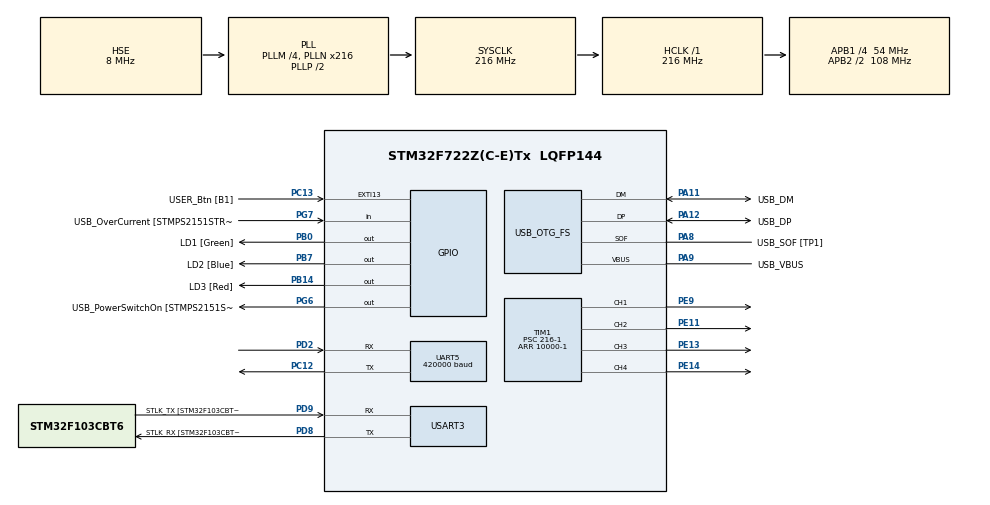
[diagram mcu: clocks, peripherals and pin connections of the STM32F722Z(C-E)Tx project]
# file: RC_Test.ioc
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Dma.Request0=UART5_RX
Dma.Request1=UART5_TX
Dma.UART5_RX.0.Direction=DMA_PERIPH_TO_MEMORY
Dma.UART5_RX.0.FIFOMode=DMA_FIFOMODE_ENABLE
Dma.UART5_RX.0.FIFOThreshold=DMA_FIFO_THRESHOLD_HALFFULL
Dma.UART5_RX.0.Instance=DMA1_Stream0
Dma.UART5_RX.0.MemBurst=DMA_MBURST_SINGLE
Dma.UART5_RX.0.MemDataAlignment=DMA_MDATAALIGN_BYTE
Dma.UART5_RX.0.MemInc=DMA_MINC_ENABLE
Dma.UART5_RX.0.Mode=DMA_CIRCULAR
Dma.UART5_RX.0.PeriphBurst=DMA_PBURST_SINGLE
Dma.UART5_RX.0.PeriphDataAlignment=DMA_PDATAALIGN_BYTE
Dma.UART5_RX.0.PeriphInc=DMA_PINC_DISABLE
Dma.UART5_RX.0.Priority=DMA_PRIORITY_LOW
Dma.UART5_TX.1.Direction=DMA_MEMORY_TO_PERIPH
Dma.UART5_TX.1.FIFOMode=DMA_FIFOMODE_ENABLE
Dma.UART5_TX.1.FIFOThreshold=DMA_FIFO_THRESHOLD_HALFFULL
Dma.UART5_TX.1.Instance=DMA1_Stream7
Dma.UART5_TX.1.MemBurst=DMA_MBURST_SINGLE
Dma.UART5_TX.1.MemDataAlignment=DMA_MDATAALIGN_BYTE
Dma.UART5_TX.1.MemInc=DMA_MINC_ENABLE
Dma.UART5_TX.1.Mode=DMA_NORMAL
Dma.UART5_TX.1.PeriphBurst=DMA_PBURST_SINGLE
Dma.UART5_TX.1.PeriphDataAlignment=DMA_PDATAALIGN_BYTE
Dma.UART5_TX.1.PeriphInc=DMA_PINC_DISABLE
Dma.UART5_TX.1.Priority=DMA_PRIORITY_LOW
Mcu.Family=STM32F7
Mcu.Name=STM32F722Z(C-E)Tx
Mcu.Package=LQFP144
NVIC.DMA1_Stream0_IRQn=true\:0\:0\:false\:false\:true\:false\:true\:true
NVIC.DMA1_Stream7_IRQn=true\:0\:0\:false\:false\:true\:false\:true\:true
NVIC.PriorityGroup=NVIC_PRIORITYGROUP_4
NVIC.UART5_IRQn=true\:0\:0\:false\:false\:true\:true\:true\:true
PA10.GPIO_Label=USB_ID
PA10.Signal=USB_OTG_FS_ID
PA11.GPIO_Label=USB_DM
PA11.Mode=Device_Only
PA11.Signal=USB_OTG_FS_DM
PA12.GPIO_Label=USB_DP
PA12.Mode=Device_Only
PA12.Signal=USB_OTG_FS_DP
PA13.GPIO_Label=TMS
PA13.Mode=Serial_Wire
PA13.Signal=SYS_JTMS-SWDIO
PA14.GPIO_Label=TCK
PA14.Mode=Serial_Wire
PA14.Signal=SYS_JTCK-SWCLK
PA8.GPIO_Label=USB_SOF [TP1]
PA8.Mode=Activate_SOF_FS
PA8.Signal=USB_OTG_FS_SOF
PA9.GPIO_Label=USB_VBUS
PA9.Mode=Activate_VBUS
PA9.Signal=USB_OTG_FS_VBUS
PB0.GPIO_Label=LD1 [Green]
PB0.Signal=GPIO_Output
PB14.GPIO_Label=LD3 [Red]
PB14.Signal=GPIO_Output
PB3.GPIO_Label=SWO
PB3.Signal=SYS_JTDO-SWO
PB7.GPIO_Label=LD2 [Blue]
PB7.Signal=GPIO_Output
PC12.Mode=Asynchronous
PC12.Signal=UART5_TX
PC13.GPIO_Label=USER_Btn [B1]
PC13.Signal=GPXTI13
PC14-OSC32_IN.Mode=LSE-External-Oscillator
PC14-OSC32_IN.Signal=RCC_OSC32_IN
PC15-OSC32_OUT.Mode=LSE-External-Oscillator
PC15-OSC32_OUT.Signal=RCC_OSC32_OUT
PD2.Mode=Asynchronous
PD2.Signal=UART5_RX
PD8.GPIO_Label=STLK_RX [STM32F103CBT6_PA3]
PD8.Mode=Asynchronous
PD8.Signal=USART3_TX
PD9.GPIO_Label=STLK_TX [STM32F103CBT6_PA2]
PD9.Mode=Asynchronous
PD9.Signal=USART3_RX
PE11.Signal=S_TIM1_CH2
PE13.Signal=S_TIM1_CH3
PE14.Signal=S_TIM1_CH4
PE9.Signal=S_TIM1_CH1
PG6.GPIO_Label=USB_PowerSwitchOn [STMPS2151STR_EN]
PG6.Signal=GPIO_Output
PG7.GPIO_Label=USB_OverCurrent [STMPS2151STR_FAULT]
PG7.Signal=GPIO_Input
PH0-OSC_IN.GPIO_Label=MCO
PH0-OSC_IN.Mode=HSE-External-Clock-Source
PH0-OSC_IN.Signal=RCC_OSC_IN
PH1-OSC_OUT.Mode=HSE-External-Clock-Source
PH1-OSC_OUT.Signal=RCC_OSC_OUT
ProjectManager.HeapSize=0x200
ProjectManager.StackSize=0x400
ProjectManager.TargetToolchain=STM32CubeIDE
RCC.48MHZClocksFreq_Value=24000000
RCC.AHBFreq_Value=216000000
RCC.APB1CLKDivider=RCC_HCLK_DIV4
RCC.APB1Freq_Value=54000000
RCC.APB1TimFreq_Value=108000000
RCC.APB2CLKDivider=RCC_HCLK_DIV2
RCC.APB2Freq_Value=108000000
RCC.APB2TimFreq_Value=216000000
RCC.CortexFreq_Value=216000000
RCC.HCLKFreq_Value=216000000
RCC.HSE_VALUE=8000000
RCC.HSI_VALUE=16000000
RCC.PLLM=4
RCC.PLLMUL=RCC_PLL_MUL9
RCC.PLLN=216
RCC.PLLQ=9
RCC.PRESCALERUSB=RCC_USBCLKSOURCE_PLL_DIV1_5
RCC.SYSCLKFreq_VALUE=216000000
RCC.SYSCLKSource=RCC_SYSCLKSOURCE_PLLCLK
RCC.SYSCLKSourceVirtual=RCC_SYSCLKSOURCE_PLLCLK
RCC.USBFreq_Value=48000000
RCC.VCOOutputFreq_Value=432000000
SH.S_TIM1_CH1.0=TIM1_CH1,PWM Generation1 CH1
SH.S_TIM1_CH2.0=TIM1_CH2,PWM Generation2 CH2
SH.S_TIM1_CH3.0=TIM1_CH3,PWM Generation3 CH3
SH.S_TIM1_CH4.0=TIM1_CH4,PWM Generation4 CH4
TIM1.AutoReloadPreload=TIM_AUTORELOAD_PRELOAD_ENABLE
TIM1.Channel-PWM\ Generation1\ CH1=TIM_CHANNEL_1
TIM1.Channel-PWM\ Generation2\ CH2=TIM_CHANNEL_2
TIM1.Channel-PWM\ Generation3\ CH3=TIM_CHANNEL_3
TIM1.Channel-PWM\ Generation4\ CH4=TIM_CHANNEL_4
TIM1.OCIdleState_4=TIM_OCIDLESTATE_RESET
TIM1.Period=10000-1
TIM1.Prescaler=216-1
TIM1.Pulse-PWM\ Generation1\ CH1=1500
TIM1.Pulse-PWM\ Generation2\ CH2=1500
TIM1.Pulse-PWM\ Generation3\ CH3=1500
TIM1.Pulse-PWM\ Generation4\ CH4=1500
UART5.BaudRate=420000
UART5.OverSampling=UART_OVERSAMPLING_16
UART5.WordLength=WORDLENGTH_8B
USART3.VirtualMode-Asynchronous=VM_ASYNC
USB_OTG_FS.VirtualMode=Device_Only
VP_TIM1_VS_ClockSourceINT.Mode=Internal
board=NUCLEO-F722ZE

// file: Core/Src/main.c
/* USER CODE BEGIN Header */
/**
  ******************************************************************************
  * @file           : main.c
  * @brief          : Main program body
  ******************************************************************************
  * @attention
  *
  * Copyright (c) 2023 STMicroelectronics.
  * All rights reserved.
  *
  * This software is licensed under terms that can be found in the LICENSE file
  * in the root directory of this software component.
  * If no LICENSE file comes with this software, it is provided AS-IS.
  *
  ******************************************************************************
  */
/* USER CODE END Header */
#include "main.h"

/* USER CODE BEGIN Includes */
#include <string.h>
#include "common_pre.h"
#include "common_defaults_post.h"
#include "rx/crsf.h"
#include "build/atomic.h"
#include "nvic.h"
#include "common/time.h"
#include "rx/rx.h"
#include "telemetry/crsf.h"

extern timeUs_t lastLinkStatisticsFrameUs;
extern crsfLinkStatistics_t crsfLinkStats;
extern crsfLinkStatisticsTx_t crsfLinkStatsTx;

/* USER CODE END Includes */

TIM_HandleTypeDef htim1;

UART_HandleTypeDef huart5;
UART_HandleTypeDef huart3;
DMA_HandleTypeDef hdma_uart5_rx;
DMA_HandleTypeDef hdma_uart5_tx;

PCD_HandleTypeDef hpcd_USB_OTG_FS;

/* USER CODE BEGIN PV */
//extern void pgResetFn_rxConfig(rxConfig_t *rxConfig);
//telemetryConfig_t telemetryConfig_System;

/* USER CODE END PV */

void SystemClock_Config(void);
static void MX_GPIO_Init(void);
static void MX_DMA_Init(void);
static void MX_USB_OTG_FS_PCD_Init(void);
static void MX_USART3_UART_Init(void);
static void MX_UART5_Init(void);
static void MX_TIM1_Init(void);

/* USER CODE BEGIN 0 */
#define RX_UART_BUFFER_SIZE CRSF_FRAME_SIZE_MAX
uint8_t Rx_data[RX_UART_BUFFER_SIZE];  //  creating a buffer of RX_UART_BUFFER_SIZE bytes
uint8_t Rx_process_buff[RX_UART_BUFFER_SIZE];  //  creating a buffer of RX_UART_BUFFER_SIZE bytes

uint32_t Rx_count = 0;
uint32_t Tx_count = 0;

float channelData[16] = {0};

// cycles per microsecond
static uint32_t usTicks = 0;
static float usTicksInv = 0.0f;
// current uptime for 1kHz systick timer. will rollover after 49 days. hopefully we won't care.
volatile uint32_t sysTickUptime = 0;
volatile uint32_t sysTickValStamp = 0;
volatile int sysTickPending = 0;
static uint32_t cpuClockFrequency = 216000000;
volatile uint32_t lastTxTime = 0;

uint8_t bRx_buffer_full = 0;
uint8_t bTx_buffer_empty = 1;
uint32_t lastRxTime = 0;

uint32_t microsISR(void)
{
    register uint32_t ms, pending, cycle_cnt;

    ATOMIC_BLOCK(NVIC_PRIO_MAX) {
        cycle_cnt = SysTick->VAL;

        if (SysTick->CTRL & SysTick_CTRL_COUNTFLAG_Msk) {
            // Update pending.
            // Record it for multiple calls within the same rollover period
            // (Will be cleared when serviced).
            // Note that multiple rollovers are not considered.

            sysTickPending = 1;

            // Read VAL again to ensure the value is read after the rollover.

            cycle_cnt = SysTick->VAL;
        }

        ms = sysTickUptime;
        pending = sysTickPending;
    }

    return ((ms + pending) * 1000) + (usTicks * 1000 - cycle_cnt) / usTicks;
}

uint32_t micros(void)
{
    register uint32_t ms, cycle_cnt;

    // Call microsISR() in interrupt and elevated (non-zero) BASEPRI context

    if ((SCB->ICSR & SCB_ICSR_VECTACTIVE_Msk) || (__get_BASEPRI())) {
        return microsISR();
    }

    do {
        ms = sysTickUptime;
        cycle_cnt = SysTick->VAL;
    } while (ms != sysTickUptime || cycle_cnt > sysTickValStamp);

    return (ms * 1000) + (usTicks * 1000 - cycle_cnt) / usTicks;
}

// Return system uptime in milliseconds (rollover in 49 days)
uint32_t millis(void)
{
    return sysTickUptime;
}

void HAL_UART_RxHalfCpltCallback(UART_HandleTypeDef *huart)
{
}

void HAL_UART_RxCpltCallback(UART_HandleTypeDef *huart)
{
//	if (bRx_buffer_full) HAL_GPIO_TogglePin (GPIOB, LD1_Pin);
	memcpy((void *)Rx_process_buff, (const void *)Rx_data, RX_UART_BUFFER_SIZE);

	Rx_count++;
	bRx_buffer_full = 1;
}

void HAL_UART_TxCpltCallback(UART_HandleTypeDef *huart)
{
	HAL_GPIO_TogglePin(GPIOB, LD3_Pin);
	Tx_count++;
}

void user_pwm_setvalue(TIM_HandleTypeDef* htim, uint16_t channel,  uint16_t uSvalue)
{
    if (uSvalue > PWM_RANGE_MAX)
    {
    	uSvalue = PWM_RANGE_MAX;
    }
    else if (uSvalue < PWM_RANGE_MIN)
    {
    	uSvalue = PWM_RANGE_MIN;
    }

    uint16_t pulse_width = uSvalue; // 1000us = 200, 2000us = 400
    __HAL_TIM_SET_COMPARE(htim, channel, pulse_width);
}

/* USER CODE END 0 */

int main(void)
{
  /* USER CODE BEGIN 1 */
//	pgResetFn_rxConfig(&rxConfig_System);

  /* USER CODE END 1 */

  /* MCU Configuration--------------------------------------------------------*/

  /* Reset of all peripherals, Initializes the Flash interface and the Systick. */
  HAL_Init();

  /* Configure the system clock */
  SystemClock_Config();

  /* Initialize all configured peripherals */
  MX_GPIO_Init();
  MX_DMA_Init();
  MX_USB_OTG_FS_PCD_Init();
  MX_USART3_UART_Init();
  MX_UART5_Init();
  MX_TIM1_Init();
  /* USER CODE BEGIN 2 */

  HAL_TIM_PWM_Start(&htim1, TIM_CHANNEL_1);
  HAL_TIM_PWM_Start(&htim1, TIM_CHANNEL_2);
  HAL_TIM_PWM_Start(&htim1, TIM_CHANNEL_3);
  HAL_TIM_PWM_Start(&htim1, TIM_CHANNEL_4);

  /* USER CODE END 2 */

  /* Infinite loop */
  /* USER CODE BEGIN WHILE */
  usTicks = cpuClockFrequency / 1000000;
  usTicksInv = 1e6f / cpuClockFrequency;

  HAL_UART_Receive_DMA (&huart5, Rx_data, RX_UART_BUFFER_SIZE);  // Receive 4*2 characters of data

  crsfRxInit(&huart5);
  initCrsfTelemetry();

  while (1)
  {
    /* USER CODE END WHILE */

    /* USER CODE BEGIN 3 */
	  //HAL_Delay (1);

	  if (bRx_buffer_full)
	  {
		  HAL_GPIO_TogglePin (GPIOB, LD1_Pin);
		  size_t n = 0;
		  for (n=0; n<RX_UART_BUFFER_SIZE; n++)
		  {
			  crsfDataReceive(Rx_process_buff[n]);
		  }

		  bRx_buffer_full = 0;

		  rxFrameState_e frameState = crsfFrameStatus();
		  if (frameState == RX_FRAME_COMPLETE)
		  {
			  HAL_GPIO_TogglePin (GPIOB, LD2_Pin);  // toggle
			  for (n=0; n<16; n++)
			  {
				  channelData[n] = crsfReadRawRC(n);
			  }
			  user_pwm_setvalue(&htim1, TIM_CHANNEL_1, channelData[0]);
			  user_pwm_setvalue(&htim1, TIM_CHANNEL_2, channelData[1]);
			  user_pwm_setvalue(&htim1, TIM_CHANNEL_3, channelData[2]);
			  user_pwm_setvalue(&htim1, TIM_CHANNEL_4, channelData[3]);

			  lastRxTime = millis();
		  }
		  else
		  {
			  if (millis() - lastRxTime > 250)
			  {
				  user_pwm_setvalue(&htim1, TIM_CHANNEL_1, PWM_RANGE_MIDDLE);
				  user_pwm_setvalue(&htim1, TIM_CHANNEL_2, PWM_RANGE_MIDDLE);
				  user_pwm_setvalue(&htim1, TIM_CHANNEL_3, PWM_RANGE_MIDDLE);
				  user_pwm_setvalue(&htim1, TIM_CHANNEL_4, PWM_RANGE_MIDDLE);
			  }
			  asm("NOP");
		  }
	  }

	  static uint32_t now = 0;
	  now = micros();
	  if (now - lastTxTime > CRSF_TELEMETRY_FRAME_INTERVAL_MAX_US)
	  {
		  lastTxTime = now;
		  handleCrsfTelemetry(micros());
	  }
  }
  /* USER CODE END 3 */
}

void SystemClock_Config(void)
{
  RCC_OscInitTypeDef RCC_OscInitStruct = {0};
  RCC_ClkInitTypeDef RCC_ClkInitStruct = {0};

  /** Configure LSE Drive Capability
  */
  HAL_PWR_EnableBkUpAccess();

  /** Configure the main internal regulator output voltage
  */
  __HAL_RCC_PWR_CLK_ENABLE();
  __HAL_PWR_VOLTAGESCALING_CONFIG(PWR_REGULATOR_VOLTAGE_SCALE1);

  /** Initializes the RCC Oscillators according to the specified parameters
  * in the RCC_OscInitTypeDef structure.
  */
  RCC_OscInitStruct.OscillatorType = RCC_OSCILLATORTYPE_HSE;
  RCC_OscInitStruct.HSEState = RCC_HSE_BYPASS;
  RCC_OscInitStruct.PLL.PLLState = RCC_PLL_ON;
  RCC_OscInitStruct.PLL.PLLSource = RCC_PLLSOURCE_HSE;
  RCC_OscInitStruct.PLL.PLLM = 4;
  RCC_OscInitStruct.PLL.PLLN = 216;
  RCC_OscInitStruct.PLL.PLLP = RCC_PLLP_DIV2;
  RCC_OscInitStruct.PLL.PLLQ = 9;
  if (HAL_RCC_OscConfig(&RCC_OscInitStruct) != HAL_OK)
  {
    Error_Handler();
  }

  /** Activate the Over-Drive mode
  */
  if (HAL_PWREx_EnableOverDrive() != HAL_OK)
  {
    Error_Handler();
  }

  /** Initializes the CPU, AHB and APB buses clocks
  */
  RCC_ClkInitStruct.ClockType = RCC_CLOCKTYPE_HCLK|RCC_CLOCKTYPE_SYSCLK
                              |RCC_CLOCKTYPE_PCLK1|RCC_CLOCKTYPE_PCLK2;
  RCC_ClkInitStruct.SYSCLKSource = RCC_SYSCLKSOURCE_PLLCLK;
  RCC_ClkInitStruct.AHBCLKDivider = RCC_SYSCLK_DIV1;
  RCC_ClkInitStruct.APB1CLKDivider = RCC_HCLK_DIV4;
  RCC_ClkInitStruct.APB2CLKDivider = RCC_HCLK_DIV2;

  if (HAL_RCC_ClockConfig(&RCC_ClkInitStruct, FLASH_LATENCY_7) != HAL_OK)
  {
    Error_Handler();
  }
}

static void MX_TIM1_Init(void)
{

  TIM_ClockConfigTypeDef sClockSourceConfig = {0};
  TIM_MasterConfigTypeDef sMasterConfig = {0};
  TIM_OC_InitTypeDef sConfigOC = {0};
  TIM_BreakDeadTimeConfigTypeDef sBreakDeadTimeConfig = {0};

  htim1.Instance = TIM1;
  htim1.Init.Prescaler = 216-1;
  htim1.Init.CounterMode = TIM_COUNTERMODE_UP;
  htim1.Init.Period = 10000-1;
  htim1.Init.ClockDivision = TIM_CLOCKDIVISION_DIV1;
  htim1.Init.RepetitionCounter = 0;
  htim1.Init.AutoReloadPreload = TIM_AUTORELOAD_PRELOAD_ENABLE;
  if (HAL_TIM_Base_Init(&htim1) != HAL_OK)
  {
    Error_Handler();
  }
  sClockSourceConfig.ClockSource = TIM_CLOCKSOURCE_INTERNAL;
  if (HAL_TIM_ConfigClockSource(&htim1, &sClockSourceConfig) != HAL_OK)
  {
    Error_Handler();
  }
  if (HAL_TIM_PWM_Init(&htim1) != HAL_OK)
  {
    Error_Handler();
  }
  sMasterConfig.MasterOutputTrigger = TIM_TRGO_RESET;
  sMasterConfig.MasterOutputTrigger2 = TIM_TRGO2_RESET;
  sMasterConfig.MasterSlaveMode = TIM_MASTERSLAVEMODE_DISABLE;
  if (HAL_TIMEx_MasterConfigSynchronization(&htim1, &sMasterConfig) != HAL_OK)
  {
    Error_Handler();
  }
  sConfigOC.OCMode = TIM_OCMODE_PWM1;
  sConfigOC.Pulse = 1500;
  sConfigOC.OCPolarity = TIM_OCPOLARITY_HIGH;
  sConfigOC.OCNPolarity = TIM_OCNPOLARITY_HIGH;
  sConfigOC.OCFastMode = TIM_OCFAST_DISABLE;
  sConfigOC.OCIdleState = TIM_OCIDLESTATE_RESET;
  sConfigOC.OCNIdleState = TIM_OCNIDLESTATE_RESET;
  if (HAL_TIM_PWM_ConfigChannel(&htim1, &sConfigOC, TIM_CHANNEL_1) != HAL_OK)
  {
    Error_Handler();
  }
  if (HAL_TIM_PWM_ConfigChannel(&htim1, &sConfigOC, TIM_CHANNEL_2) != HAL_OK)
  {
    Error_Handler();
  }
  if (HAL_TIM_PWM_ConfigChannel(&htim1, &sConfigOC, TIM_CHANNEL_3) != HAL_OK)
  {
    Error_Handler();
  }
  if (HAL_TIM_PWM_ConfigChannel(&htim1, &sConfigOC, TIM_CHANNEL_4) != HAL_OK)
  {
    Error_Handler();
  }
  sBreakDeadTimeConfig.OffStateRunMode = TIM_OSSR_DISABLE;
  sBreakDeadTimeConfig.OffStateIDLEMode = TIM_OSSI_DISABLE;
  sBreakDeadTimeConfig.LockLevel = TIM_LOCKLEVEL_OFF;
  sBreakDeadTimeConfig.DeadTime = 0;
  sBreakDeadTimeConfig.BreakState = TIM_BREAK_DISABLE;
  sBreakDeadTimeConfig.BreakPolarity = TIM_BREAKPOLARITY_HIGH;
  sBreakDeadTimeConfig.BreakFilter = 0;
  sBreakDeadTimeConfig.Break2State = TIM_BREAK2_DISABLE;
  sBreakDeadTimeConfig.Break2Polarity = TIM_BREAK2POLARITY_HIGH;
  sBreakDeadTimeConfig.Break2Filter = 0;
  sBreakDeadTimeConfig.AutomaticOutput = TIM_AUTOMATICOUTPUT_DISABLE;
  if (HAL_TIMEx_ConfigBreakDeadTime(&htim1, &sBreakDeadTimeConfig) != HAL_OK)
  {
    Error_Handler();
  }
  HAL_TIM_MspPostInit(&htim1);

}

static void MX_UART5_Init(void)
{

  huart5.Instance = UART5;
  huart5.Init.BaudRate = 420000;
  huart5.Init.WordLength = UART_WORDLENGTH_8B;
  huart5.Init.StopBits = UART_STOPBITS_1;
  huart5.Init.Parity = UART_PARITY_NONE;
  huart5.Init.Mode = UART_MODE_TX_RX;
  huart5.Init.HwFlowCtl = UART_HWCONTROL_NONE;
  huart5.Init.OverSampling = UART_OVERSAMPLING_16;
  huart5.Init.OneBitSampling = UART_ONE_BIT_SAMPLE_DISABLE;
  huart5.AdvancedInit.AdvFeatureInit = UART_ADVFEATURE_NO_INIT;
  if (HAL_UART_Init(&huart5) != HAL_OK)
  {
    Error_Handler();
  }

}

static void MX_USART3_UART_Init(void)
{

  huart3.Instance = USART3;
  huart3.Init.BaudRate = 115200;
  huart3.Init.WordLength = UART_WORDLENGTH_8B;
  huart3.Init.StopBits = UART_STOPBITS_1;
  huart3.Init.Parity = UART_PARITY_NONE;
  huart3.Init.Mode = UART_MODE_TX_RX;
  huart3.Init.HwFlowCtl = UART_HWCONTROL_NONE;
  huart3.Init.OverSampling = UART_OVERSAMPLING_16;
  huart3.Init.OneBitSampling = UART_ONE_BIT_SAMPLE_DISABLE;
  huart3.AdvancedInit.AdvFeatureInit = UART_ADVFEATURE_NO_INIT;
  if (HAL_UART_Init(&huart3) != HAL_OK)
  {
    Error_Handler();
  }

}

static void MX_USB_OTG_FS_PCD_Init(void)
{

  hpcd_USB_OTG_FS.Instance = USB_OTG_FS;
  hpcd_USB_OTG_FS.Init.dev_endpoints = 6;
  hpcd_USB_OTG_FS.Init.speed = PCD_SPEED_FULL;
  hpcd_USB_OTG_FS.Init.dma_enable = DISABLE;
  hpcd_USB_OTG_FS.Init.phy_itface = PCD_PHY_EMBEDDED;
  hpcd_USB_OTG_FS.Init.Sof_enable = ENABLE;
  hpcd_USB_OTG_FS.Init.low_power_enable = DISABLE;
  hpcd_USB_OTG_FS.Init.lpm_enable = DISABLE;
  hpcd_USB_OTG_FS.Init.battery_charging_enable = ENABLE;
  hpcd_USB_OTG_FS.Init.vbus_sensing_enable = ENABLE;
  hpcd_USB_OTG_FS.Init.use_dedicated_ep1 = DISABLE;
  if (HAL_PCD_Init(&hpcd_USB_OTG_FS) != HAL_OK)
  {
    Error_Handler();
  }

}

static void MX_DMA_Init(void)
{

  /* DMA controller clock enable */
  __HAL_RCC_DMA1_CLK_ENABLE();

  /* DMA interrupt init */
  /* DMA1_Stream0_IRQn interrupt configuration */
  HAL_NVIC_SetPriority(DMA1_Stream0_IRQn, 0, 0);
  HAL_NVIC_EnableIRQ(DMA1_Stream0_IRQn);
  /* DMA1_Stream7_IRQn interrupt configuration */
  HAL_NVIC_SetPriority(DMA1_Stream7_IRQn, 0, 0);
  HAL_NVIC_EnableIRQ(DMA1_Stream7_IRQn);

}

static void MX_GPIO_Init(void)
{
  GPIO_InitTypeDef GPIO_InitStruct = {0};

  /* GPIO Ports Clock Enable */
  __HAL_RCC_GPIOC_CLK_ENABLE();
  __HAL_RCC_GPIOH_CLK_ENABLE();
  __HAL_RCC_GPIOB_CLK_ENABLE();
  __HAL_RCC_GPIOE_CLK_ENABLE();
  __HAL_RCC_GPIOD_CLK_ENABLE();
  __HAL_RCC_GPIOG_CLK_ENABLE();
  __HAL_RCC_GPIOA_CLK_ENABLE();

  /*Configure GPIO pin Output Level */
  HAL_GPIO_WritePin(GPIOB, LD1_Pin|LD3_Pin|LD2_Pin, GPIO_PIN_RESET);

  /*Configure GPIO pin Output Level */
  HAL_GPIO_WritePin(USB_PowerSwitchOn_GPIO_Port, USB_PowerSwitchOn_Pin, GPIO_PIN_RESET);

  /*Configure GPIO pin : USER_Btn_Pin */
  GPIO_InitStruct.Pin = USER_Btn_Pin;
  GPIO_InitStruct.Mode = GPIO_MODE_IT_RISING;
  GPIO_InitStruct.Pull = GPIO_NOPULL;
  HAL_GPIO_Init(USER_Btn_GPIO_Port, &GPIO_InitStruct);

  /*Configure GPIO pins : LD1_Pin LD3_Pin LD2_Pin */
  GPIO_InitStruct.Pin = LD1_Pin|LD3_Pin|LD2_Pin;
  GPIO_InitStruct.Mode = GPIO_MODE_OUTPUT_PP;
  GPIO_InitStruct.Pull = GPIO_NOPULL;
  GPIO_InitStruct.Speed = GPIO_SPEED_FREQ_LOW;
  HAL_GPIO_Init(GPIOB, &GPIO_InitStruct);

  /*Configure GPIO pin : USB_PowerSwitchOn_Pin */
  GPIO_InitStruct.Pin = USB_PowerSwitchOn_Pin;
  GPIO_InitStruct.Mode = GPIO_MODE_OUTPUT_PP;
  GPIO_InitStruct.Pull = GPIO_NOPULL;
  GPIO_InitStruct.Speed = GPIO_SPEED_FREQ_LOW;
  HAL_GPIO_Init(USB_PowerSwitchOn_GPIO_Port, &GPIO_InitStruct);

  /*Configure GPIO pin : USB_OverCurrent_Pin */
  GPIO_InitStruct.Pin = USB_OverCurrent_Pin;
  GPIO_InitStruct.Mode = GPIO_MODE_INPUT;
  GPIO_InitStruct.Pull = GPIO_NOPULL;
  HAL_GPIO_Init(USB_OverCurrent_GPIO_Port, &GPIO_InitStruct);

}

void Error_Handler(void)
{
  __disable_irq();
  while (1)
  {
  }
}
